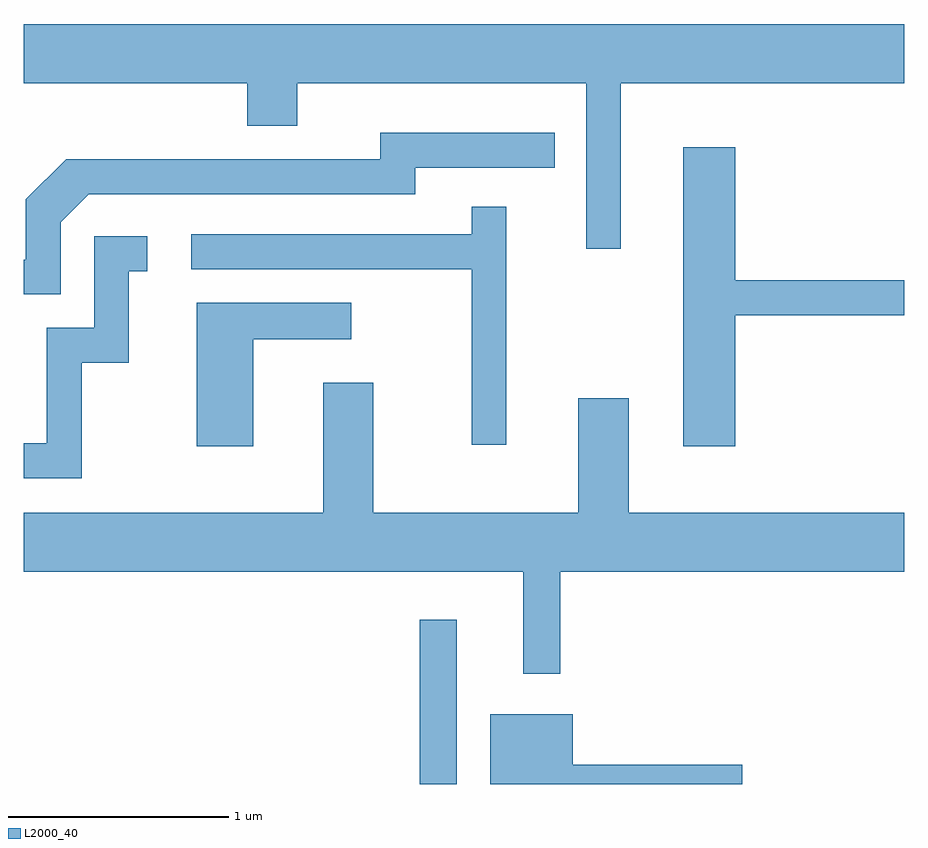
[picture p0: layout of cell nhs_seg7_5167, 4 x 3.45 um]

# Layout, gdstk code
import gdstk
lib = gdstk.Library(unit=1e-6, precision=1e-09)
def R(c, l, rs):  # rectangles x0, y0, x1, y1
    for r in rs: c.add(gdstk.rectangle(r[:2], r[2:], *l))
def P(c, l, *ps):  # polygons
    for p in ps: c.add(gdstk.Polygon(p, *l))
L2000_40 = (2000, 40)

nhs_seg7_5167 = lib.new_cell('nhs_seg7_5167')
R(nhs_seg7_5167, L2000_40, [(345.411,1702.252,345.579,1702.998)])
P(nhs_seg7_5167, L2000_40, [(346.324,1705.436),(347.611,1705.436),(347.611,1705.704),(343.611,1705.704),(343.611,1705.436),(344.626,1705.436),(344.626,1705.241),(344.854,1705.241),(344.854,1705.436),(346.166,1705.436),(346.166,1704.683),(346.324,1704.683)],
  [(343.779,1704.804),(343.907,1704.931),(345.389,1704.931),(345.389,1705.051),(346.023,1705.051),(346.023,1705.209),(345.231,1705.209),(345.231,1705.089),(343.804,1705.089),(343.621,1704.907),(343.621,1704.634),(343.611,1704.634),(343.611,1704.476),(343.779,1704.476)],
  [(346.844,1704.381),(347.611,1704.381),(347.611,1704.539),(346.844,1704.539),(346.844,1705.144),(346.606,1705.144),(346.606,1703.786),(346.844,1703.786)],
  [(345.804,1704.873),(345.646,1704.873),(345.646,1704.749),(344.373,1704.749),(344.373,1704.591),(345.646,1704.591),(345.646,1703.793),(345.804,1703.793)],
  [(343.874,1704.166),(344.089,1704.166),(344.089,1704.581),(344.173,1704.581),(344.173,1704.739),(343.931,1704.739),(343.931,1704.324),(343.716,1704.324),(343.716,1703.799),(343.611,1703.799),(343.611,1703.641),(343.874,1703.641)],
  [(344.654,1704.271),(345.098,1704.271),(345.098,1704.439),(344.396,1704.439),(344.396,1703.786),(344.654,1703.786)],
  [(346.049,1703.216),(347.611,1703.216),(347.611,1703.484),(346.359,1703.484),(346.359,1704.004),(346.131,1704.004),(346.131,1703.484),(345.199,1703.484),(345.199,1704.074),(344.971,1704.074),(344.971,1703.484),(343.611,1703.484),(343.611,1703.216),(345.881,1703.216),(345.881,1702.753),(346.049,1702.753)],
  [(346.874,1702.339),(346.104,1702.339),(346.104,1702.569),(345.731,1702.569),(345.731,1702.252),(346.874,1702.252)])

lib.write_gds('nhs_seg7_5167.gds')
